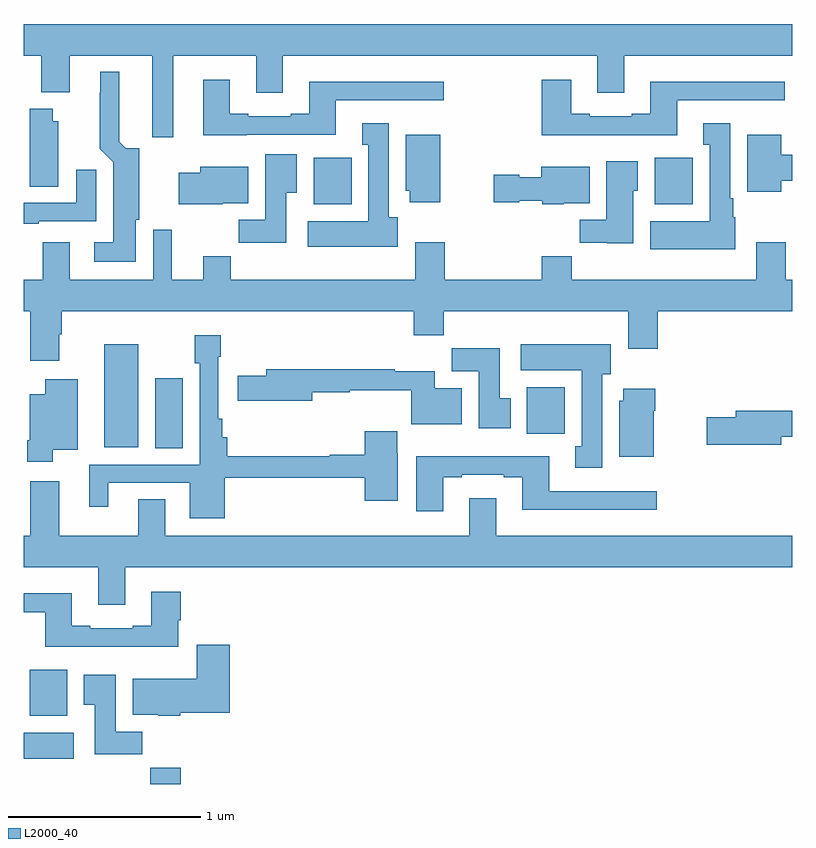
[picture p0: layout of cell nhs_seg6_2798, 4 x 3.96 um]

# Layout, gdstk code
import gdstk
lib = gdstk.Library(unit=1e-6, precision=1e-09)
def R(c, l, rs):  # rectangles x0, y0, x1, y1
    for r in rs: c.add(gdstk.rectangle(r[:2], r[2:], *l))
def P(c, l, *ps):  # polygons
    for p in ps: c.add(gdstk.Polygon(p, *l))
L2000_40 = (2000, 40)

nhs_seg6_2798 = lib.new_cell('nhs_seg6_2798')
R(nhs_seg6_2798, L2000_40, [(275.659,987.5,275.816,987.584), (275,987.632,275.26,987.766), (275.03,987.854,275.227,988.096), (275.684,989.248,275.827,989.611), (275.42,989.252,275.596,989.788), (277.619,989.324,277.816,989.566), (276.509,990.518,276.706,990.76), (278.285,990.518,278.482,990.76)])
P(nhs_seg6_2798, L2000_40, [(275.779,991.292),(276.209,991.292),(276.209,991.098),(276.349,991.098),(276.349,991.292),(277.985,991.292),(277.985,991.098),(278.125,991.098),(278.125,991.292),(279,991.292),(279,991.456),(275,991.456),(275,991.292),(275.092,991.292),(275.092,991.1),(275.239,991.1),(275.239,991.292),(275.669,991.292),(275.669,990.867),(275.779,990.867)],
  [(275.584,990.438),(275.602,990.438),(275.602,990.81),(275.53,990.81),(275.497,990.844),(275.497,991.207),(275.399,991.207),(275.399,991.097),(275.395,991.097),(275.395,990.806),(275.465,990.736),(275.465,990.319),(275.367,990.319),(275.367,990.218),(275.584,990.218)],
  [(276.161,990.879),(276.625,990.879),(276.625,991.059),(277.186,991.059),(277.186,991.156),(276.485,991.156),(276.485,990.988),(276.389,990.988),(276.389,990.975),(276.169,990.975),(276.169,990.988),(276.073,990.988),(276.073,991.165),(275.933,991.165),(275.933,990.878),(276.161,990.878)],
  [(278.401,991.059),(278.962,991.059),(278.962,991.156),(278.261,991.156),(278.261,990.988),(278.165,990.988),(278.165,990.975),(277.945,990.975),(277.945,990.988),(277.849,990.988),(277.849,991.165),(277.697,991.165),(277.697,990.878),(278.401,990.878)],
  [(275.179,990.951),(275.152,990.951),(275.152,991.015),(275.03,991.015),(275.03,990.61),(275.179,990.61)],
  [(278.704,990.45),(278.692,990.45),(278.692,990.55),(278.677,990.55),(278.677,990.94),(278.537,990.94),(278.537,990.827),(278.57,990.827),(278.57,990.43),(278.261,990.43),(278.261,990.284),(278.704,990.284)],
  [(276.946,990.45),(276.901,990.45),(276.901,990.94),(276.761,990.94),(276.761,990.827),(276.794,990.827),(276.794,990.43),(276.477,990.43),(276.477,990.296),(276.946,990.296)],
  [(277.168,990.88),(276.989,990.88),(276.989,990.588),(277.01,990.588),(277.01,990.528),(277.168,990.528)],
  [(278.944,990.64),(279,990.64),(279,990.776),(278.944,990.776),(278.944,990.88),(278.765,990.88),(278.765,990.584),(278.944,990.584)],
  [(276.367,990.577),(276.421,990.577),(276.421,990.778),(276.257,990.778),(276.257,990.436),(276.118,990.436),(276.118,990.318),(276.367,990.318)],
  [(278.173,990.588),(278.197,990.588),(278.197,990.742),(278.033,990.742),(278.033,990.436),(277.894,990.436),(277.894,990.318),(278.037,990.318),(278.037,990.314),(278.173,990.314)],
  [(277.812,990.524),(277.945,990.524),(277.945,990.712),(277.694,990.712),(277.694,990.658),(277.578,990.658),(277.578,990.671),(277.446,990.671),(277.446,990.529),(277.578,990.529),(277.578,990.536),(277.698,990.536),(277.698,990.518),(277.812,990.518)],
  [(276.036,990.524),(276.169,990.524),(276.169,990.712),(275.918,990.712),(275.918,990.682),(275.807,990.682),(275.807,990.518),(276.036,990.518)],
  [(275.077,990.429),(275.377,990.429),(275.377,990.697),(275.273,990.697),(275.273,990.525),(275,990.525),(275,990.417),(275.077,990.417)],
  [(275.185,989.84),(275.198,989.84),(275.198,989.96),(277.031,989.96),(277.031,989.836),(277.187,989.836),(277.187,989.96),(278.147,989.96),(278.147,989.766),(278.3,989.766),(278.3,989.96),(279,989.96),(279,990.124),(278.966,990.124),(278.966,990.319),(278.813,990.319),(278.813,990.124),(277.853,990.124),(277.853,990.248),(277.697,990.248),(277.697,990.124),(277.19,990.124),(277.19,990.319),(277.037,990.319),(277.037,990.124),(276.077,990.124),(276.077,990.248),(275.933,990.248),(275.933,990.124),(275.77,990.124),(275.77,990.385),(275.673,990.385),(275.673,990.124),(275.239,990.124),(275.239,990.319),(275.099,990.319),(275.099,990.124),(275,990.124),(275,989.96),(275.033,989.96),(275.033,989.703),(275.185,989.703)],
  [(276.046,989.094),(276.776,989.094),(276.776,988.974),(276.946,988.974),(276.946,989.222),(276.945,989.222),(276.945,989.335),(276.776,989.335),(276.776,989.215),(276.592,989.215),(276.592,989.207),(276.059,989.207),(276.059,989.305),(276.032,989.305),(276.032,989.401),(276.012,989.401),(276.012,989.723),(276.025,989.723),(276.025,989.836),(275.89,989.836),(275.89,989.691),(275.916,989.691),(275.916,989.163),(275.342,989.163),(275.342,988.944),(275.44,988.944),(275.44,989.067),(275.864,989.067),(275.864,988.883),(276.046,988.883)],
  [(278.011,989.634),(278.056,989.634),(278.056,989.788),(277.587,989.788),(277.587,989.654),(277.904,989.654),(277.904,989.258),(277.871,989.258),(277.871,989.145),(278.011,989.145)],
  [(277.534,989.508),(277.477,989.508),(277.477,989.767),(277.228,989.767),(277.228,989.648),(277.367,989.648),(277.367,989.352),(277.534,989.352)],
  [(277.279,989.56),(277.138,989.56),(277.138,989.648),(276.932,989.648),(276.932,989.659),(276.263,989.659),(276.263,989.625),(276.114,989.625),(276.114,989.495),(276.502,989.495),(276.502,989.538),(276.698,989.538),(276.698,989.549),(277.017,989.549),(277.017,989.373),(277.279,989.373)],
  [(275.152,989.24),(275.281,989.24),(275.281,989.608),(275.111,989.608),(275.111,989.53),(275.03,989.53),(275.03,989.29),(275.018,989.29),(275.018,989.178),(275.152,989.178)],
  [(278.278,989.444),(278.286,989.444),(278.286,989.557),(278.12,989.557),(278.12,989.496),(278.099,989.496),(278.099,989.204),(278.278,989.204)],
  [(278.944,989.308),(279,989.308),(279,989.444),(278.705,989.444),(278.705,989.408),(278.556,989.408),(278.556,989.266),(278.944,989.266)],
  [(277.183,989.097),(277.279,989.097),(277.279,989.109),(277.499,989.109),(277.499,989.097),(277.595,989.097),(277.595,988.928),(278.296,988.928),(278.296,989.025),(277.735,989.025),(277.735,989.206),(277.043,989.206),(277.043,988.92),(277.183,988.92)],
  [(275.527,988.628),(279,988.628),(279,988.792),(277.459,988.792),(277.459,988.987),(277.319,988.987),(277.319,988.792),(275.737,988.792),(275.737,988.982),(275.597,988.982),(275.597,988.792),(275.185,988.792),(275.185,989.077),(275.033,989.077),(275.033,988.792),(275,988.792),(275,988.628),(275.387,988.628),(275.387,988.434),(275.527,988.434)],
  [(275.803,988.353),(275.816,988.353),(275.816,988.501),(275.663,988.501),(275.663,988.324),(275.567,988.324),(275.567,988.311),(275.347,988.311),(275.347,988.324),(275.251,988.324),(275.251,988.492),(275,988.492),(275,988.395),(275.111,988.395),(275.111,988.214),(275.803,988.214)],
  [(275.814,987.872),(276.071,987.872),(276.071,988.225),(275.9,988.225),(275.9,988.048),(275.567,988.048),(275.567,987.86),(275.7,987.86),(275.7,987.854),(275.814,987.854)],
  [(275.618,987.772),(275.479,987.772),(275.479,988.069),(275.312,988.069),(275.312,987.913),(275.369,987.913),(275.369,987.654),(275.618,987.654)])

lib.write_gds('nhs_seg6_2798.gds')
